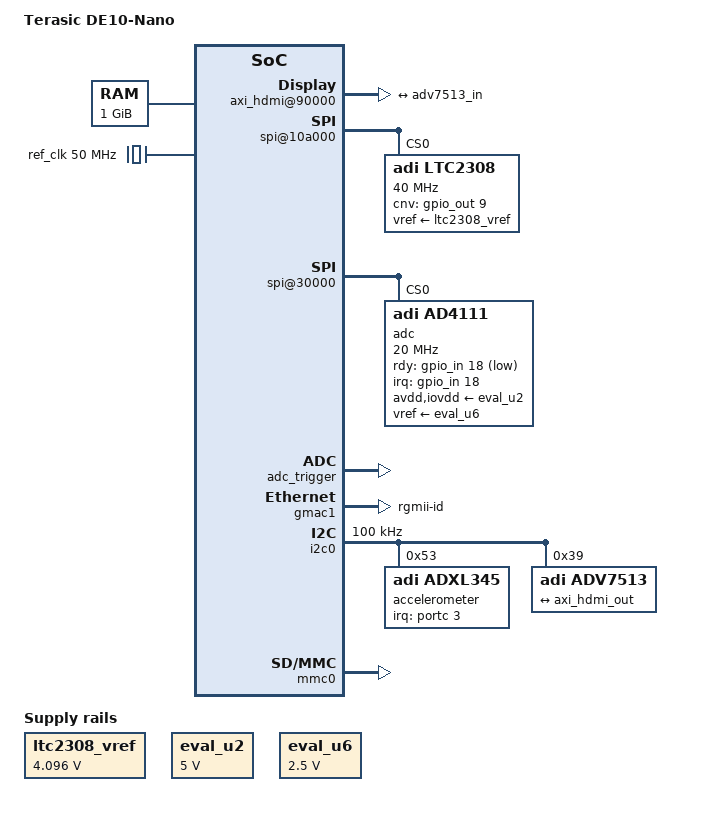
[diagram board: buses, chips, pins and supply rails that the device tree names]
// SPDX-License-Identifier: GPL-2.0+
/*
 * Copyright (C) 2017, Intel Corporation
 *
 * based on socfpga_cyclone5_de0_nano_soc.dts
 */
/dts-v1/;

#include "socfpga_cyclone5.dtsi"
#include <dt-bindings/interrupt-controller/irq.h>
#include <dt-bindings/gpio/gpio.h>

/ {
	model = "Terasic DE10-Nano";
	compatible = "terasic,de10-nano", "altr,socfpga-cyclone5", "altr,socfpga";

	chosen {
		stdout-path = "serial0:115200n8";
	};

	memory@0 {
		/* 1 GiB */
		device_type = "memory";
		reg = <0x0 0x40000000>;
	};

	soc {
		fpga: bus@ff200000 {
			compatible = "simple-bus";
			reg = <0xff200000 0x00200000>;
			ranges = <0x00000000 0xff200000 0x00200000>;
			#address-cells = <1>;
			#size-cells = <1>;

			/*
			 * Here the devices will appear if an FPGA image is
			 * loaded. Their description is expected to be added
			 * using a device tree overlay that matches the image.
			 */
		};
	};
};

&gmac1 {
	/* Uses a KSZ9031RNX phy */
	phy-mode = "rgmii-id";
	rxd0-skew-ps = <420>;
	rxd1-skew-ps = <420>;
	rxd2-skew-ps = <420>;
	rxd3-skew-ps = <420>;
	txen-skew-ps = <0>;
	rxdv-skew-ps = <420>;
	status = "okay";
};

&gpio0 {
	status = "okay";
};

&gpio1 {
	status = "okay";
};

&gpio2 {
	status = "okay";
};

&i2c0 {
	clock-frequency = <100000>;
	status = "okay";

	accelerometer@53 {
		compatible = "adi,adxl345";
		reg = <0x53>;
		/* HPS_GSENSOR_INT is routed to UART0_RX/CAN0_RX/SPIM0_SS1/HPS_GPIO61 */
		interrupt-parent = <&portc>;
		interrupts = <3 IRQ_TYPE_LEVEL_HIGH>;
		interrupt-names = "INT1";
	};
};

&mmc0 {
	/* micro SD card socket J11 */
	status = "okay";
};

&uart0 {
	/*
	 * Accessible via USB (FT232R) on Mini-USB plug J4
	 * RX = TRACE_D0/SPIS0_CLK/UART0_RX/HPS_GPIO49
	 * TX = TRACE_D1/SPIS0_MOSI/UART0_TX/HPS_GPIO50
	 * no handshaking lines
	 */
	clock-frequency = <100000000>;
};

// https://github.com/analogdevicesinc/linux/blob/main/arch/arm/boot/dts/intel/socfpga/socfpga_cyclone5_de10_nano_hps.dtsi

/ {
	sys_clk: sys_clk {
		#clock-cells = <0x0>;
		compatible = "fixed-clock";
		clock-frequency = <50000000>;
		clock-output-names = "sys_clk";
	};

	ref_clk: ref_clk {
		#clock-cells = <0x0>;
		compatible = "fixed-clock";
		clock-frequency = <50000000>;
		clock-output-names = "reference_clock";
	};

	// REVISIT: Technically, this is a child clock of the h2f_user0_clock
	sys_dma_clk: sys_dma_clk {
		#clock-cells = <0x0>;
		compatible = "fixed-clock";
		clock-frequency = <80000000>;
		clock-output-names = "sys_dma_clk";
	};

	ltc2308_vref: voltage-regulator {
		compatible = "regulator-fixed";
		regulator-name = "fixed-supply";
		regulator-min-microvolt = <4096000>;
		regulator-max-microvolt = <4096000>;
		regulator-always-on;
	};
};

&fpga {
	gpio_bd: gpio_bd@10080 {
		compatible = "altr,pio-18.1", "altr,pio-1.0";
		reg = <0x00010080 0x10>;
		interrupt-parent = <&intc>;
		interrupts = <0 40 IRQ_TYPE_LEVEL_HIGH>;
		altr,interrupt-type = <IRQ_TYPE_LEVEL_HIGH>;
		#gpio-cells = <2>;
		gpio-controller;
		#interrupt-cells = <2>;
		interrupt-controller;
	};

	gpio_in: gpio_in@10100 {
		compatible = "altr,pio-18.1", "altr,pio-1.0";
		reg = <0x00010100 0x10>;
		interrupt-parent = <&intc>;
		interrupts = <0 42 IRQ_TYPE_LEVEL_HIGH>;
		altr,interrupt-type = <IRQ_TYPE_LEVEL_HIGH>;
		#gpio-cells = <2>;
		gpio-controller;
		#interrupt-cells = <2>;
		interrupt-controller;
	};

	axi_sysid_0: axi-sysid-0@18000 {
		compatible = "adi,axi-sysid-1.00.a";
		reg = <0x00018000 0x8000>;
	};

	hdmi_tx_dma: dma@80000 {
		compatible = "adi,axi-dmac-1.00.a";
		reg = <0x00080000 0x800>;
		interrupt-parent = <&intc>;
		interrupts = <0 47 IRQ_TYPE_LEVEL_HIGH>;
		#dma-cells = <1>;
		clocks = <&sys_clk>;
	};

	axi_hdmi@90000 {
		compatible = "adi,axi-hdmi-tx-1.00.a";
		reg = <0x00090000 0x10000>;
		dmas = <&hdmi_tx_dma 0>;
		dma-names = "video";
		clocks = <&pixel_clock 0>;
		adi,is-rgb;

		port {
			axi_hdmi_out: endpoint {
				remote-endpoint = <&adv7513_in>;
			};
		};
	};

	pixel_clock: fpll@100000 {
		#clock-cells = <0x1>;
		compatible = "altr,c5-fpll";
		reg = <0x00100000 0x100>;
		#address-cells = <1>;
		#size-cells = <0>;
		clocks = <&ref_clk>;
		assigned-clocks = <&pixel_clock 0>, <&pixel_clock 1>;
		assigned-clock-rates = <148500000>, <100000000>;
		clock-output-names = "c5_out0", "c5_out1", "c5_out2",
				     "c5_out3", "c5_out4", "c5_out5",
				     "c5_out6", "c5_out7", "c5_out8";
		adi,fractional-carry-bit = <32>;

		fpll_c0: channel@0 {
			reg = <0>;
			adi,extended-name = "PIXEL_CLOCK";
		};

		fpll_c1: channel@1 {
			reg = <1>;
			adi,extended-name = "DMA_CLOCK";
		};
	};

	gpio_out: gpio_out@109000 {
		compatible = "altr,pio-1.0";
		reg = <0x109000 0x10>;
		#gpio-cells = <2>;
		gpio-controller;
	};

	spi@10a000 {
		compatible = "altr,spi-18.1", "altr,spi-1.0";
		reg = <0x10a000 0x20>;
		interrupt-parent = <&intc>;
		interrupts = <0 43 IRQ_TYPE_LEVEL_HIGH>;
		#address-cells = <0x1>;
		#size-cells = <0x0>;

		ltc2308: adc@0 {
			compatible = "adi,ltc2308";
			reg = <0>;
			spi-max-frequency = <40000000>;
			vref-supply = <&ltc2308_vref>;
			cnv-gpios = <&gpio_out 9 GPIO_ACTIVE_HIGH>;
			#address-cells = <1>;
			#size-cells = <0>;
			channel@0 {
				reg = <0>;
			};
			channel@1 {
				reg = <1>;
			};
			channel@2 {
				reg = <2>;
			};
			channel@3 {
				reg = <3>;
			};
			channel@4 {
				reg = <4>;
			};
			channel@5 {
				reg = <5>;
			};
			channel@6 {
				reg = <6>;
			};
			channel@7 {
				reg = <7>;
			};
		};
	};
};

&i2c0 {
	adv7513@39 {
		compatible = "adi,adv7513";
		reg = <0x39>, <0x3f>;
		reg-names = "primary", "edid";

		adi,input-depth = <8>;
		adi,input-colorspace = "rgb";
		adi,input-clock = "1x";
		adi,clock-delay = <0>;

		#sound-dai-cells = <0>;

		ports {
			#address-cells = <1>;
			#size-cells = <0>;

			port@0 {
				reg = <0>;
				adv7513_in: endpoint {
					remote-endpoint = <&axi_hdmi_out>;
				};
			};

			port@1 {
				reg = <1>;
			};
		};
	};
};

// https://analogdevicesinc.github.io/hdl/projects/ad411x_ad717x/index.html


/ {
	eval_u2: eval-u2-regulator {
		compatible = "regulator-fixed";
		regulator-name = "EVAL ADUM6411BRSZ (U2)";
		// LK24 jumper default position REMOVED
		regulator-min-microvolt = <5000000>;
		regulator-max-microvolt = <5000000>;
		regulator-always-on;
	};

	eval_u6: eval-u6-regulator {
		compatible = "regulator-fixed";
		regulator-name = "EVAL ADR4525BRZ (U6)";
		regulator-min-microvolt = <2500000>;
		regulator-max-microvolt = <2500000>;
		regulator-always-on;
	};
};

&fpga {
	rx_dma: dma@20000 {
		compatible = "adi,axi-dmac-1.00.a";
		reg = <0x20000 0x800>;
		#dma-cells = <1>;
		interrupt-parent = <&intc>;
		interrupts = <0 44 IRQ_TYPE_LEVEL_HIGH>;
		clocks = <&sys_clk>;
	};

	spi@30000 {
		compatible = "adi,axi-spi-engine-1.00.a";
		reg = <0x30000 0x1000>;
		interrupt-parent = <&intc>;
		interrupts = <0 45 IRQ_TYPE_LEVEL_HIGH>;
		clocks = <&sys_clk>, <&sys_dma_clk>;
		clock-names = "s_axi_aclk", "spi_clk";

		dmas = <&rx_dma 0>;
		dma-names = "offload0-rx";
		trigger-sources = <&adc_trigger>;

		#address-cells = <0x1>;
		#size-cells = <0x0>;

		adc@0 {
			compatible = "adi,ad4111";
			reg = <0>;
			
			spi-max-frequency = <20000000>;

			// S1 default position - SINGLE
			avdd-supply = <&eval_u2>;
			// LK24 jumper default position A
			iovdd-supply = <&eval_u2>;
			// LK13 jumper default position B
			vref-supply = <&eval_u6>;

			interrupts = <18 IRQ_TYPE_EDGE_FALLING>;
			interrupt-names = "rdy";
			interrupt-parent = <&gpio_in>;
			rdy-gpios = <&gpio_in 18 GPIO_ACTIVE_LOW>;

			#address-cells = <1>;
			#size-cells = <0>;

			channel@0 {
				reg = <0>;
				single-channel = <0>; // VIN0
				common-mode-channel = <16>; //VINCOM
			};

			channel@1 {
				reg = <1>;
				single-channel = <1>; // VIN1
				common-mode-channel = <16>; //VINCOM
			};

			channel@2 {
				reg = <2>;
				single-channel = <2>; // VIN2
				common-mode-channel = <16>; //VINCOM
			};

			channel@3 {
				reg = <3>;
				single-channel = <3>; // VIN3
				common-mode-channel = <16>; //VINCOM
			};

			channel@4 {
				reg = <4>;
				single-channel = <4>; // VIN4
				common-mode-channel = <16>; //VINCOM
			};

			channel@5 {
				reg = <5>;
				single-channel = <5>; // VIN5
				common-mode-channel = <16>; //VINCOM
			};

			channel@6 {
				reg = <6>;
				single-channel = <6>; // VIN6
				common-mode-channel = <16>; //VINCOM
			};

			channel@7 {
				reg = <7>;
				single-channel = <7>; // VIN7
				common-mode-channel = <16>; //VINCOM
			};

			channel@8 {
				reg = <8>;
				single-channel = <0>; // IIN0
				adi,current-channel;
			};

			channel@9 {
				reg = <9>;
				single-channel = <1>; // IIN1
				adi,current-channel;
			};

			channel@10 {
				reg = <10>;
				single-channel = <2>; // IIN2
				adi,current-channel;
			};

			channel@11 {
				reg = <11>;
				single-channel = <3>; // IIN3
				adi,current-channel;
			};
		};
	};

	adc_trigger: trigger@40000 {
		compatible = "adi,util-sigma-delta-spi";
		reg = <0x40000 0x100>;
		clocks = <&sys_dma_clk>;
		#trigger-source-cells = <0>;
	};
};
